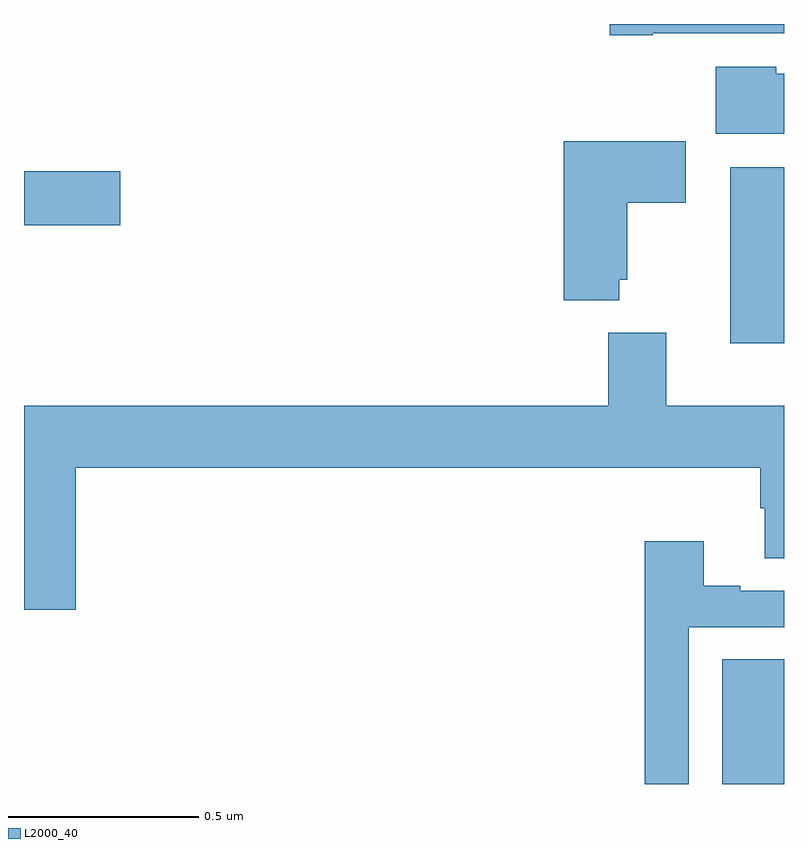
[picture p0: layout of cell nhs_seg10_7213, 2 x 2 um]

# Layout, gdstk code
import gdstk
lib = gdstk.Library(unit=1e-6, precision=1e-09)
def R(c, l, rs):  # rectangles x0, y0, x1, y1
    for r in rs: c.add(gdstk.rectangle(r[:2], r[2:], *l))
def P(c, l, *ps):  # polygons
    for p in ps: c.add(gdstk.Polygon(p, *l))
L2000_40 = (2000, 40)

nhs_seg10_7213 = lib.new_cell('nhs_seg10_7213')
R(nhs_seg10_7213, L2000_40, [(202.838,1283.5,203,1283.828), (202.859,1284.66,203,1285.123), (201,1284.97,201.253,1285.112)])
P(nhs_seg10_7213, L2000_40, [(202.654,1285.476),(203,1285.476),(203,1285.5),(202.542,1285.5),(202.542,1285.471),(202.654,1285.471)],
  [(203,1285.369),(202.98,1285.369),(202.98,1285.387),(202.82,1285.387),(202.82,1285.211),(203,1285.211)],
  [(202.566,1284.827),(202.588,1284.827),(202.588,1285.03),(202.741,1285.03),(202.741,1285.192),(202.421,1285.192),(202.421,1284.773),(202.566,1284.773)],
  [(201.136,1284.332),(202.937,1284.332),(202.937,1284.226),(202.949,1284.226),(202.949,1284.094),(203,1284.094),(203,1284.496),(202.69,1284.496),(202.69,1284.688),(202.538,1284.688),(202.538,1284.496),(201,1284.496),(201,1283.958),(201.136,1283.958)],
  [(202.749,1283.913),(203,1283.913),(203,1284.009),(202.885,1284.009),(202.885,1284.022),(202.789,1284.022),(202.789,1284.139),(202.633,1284.139),(202.633,1283.5),(202.749,1283.5)])

lib.write_gds('nhs_seg10_7213.gds')
